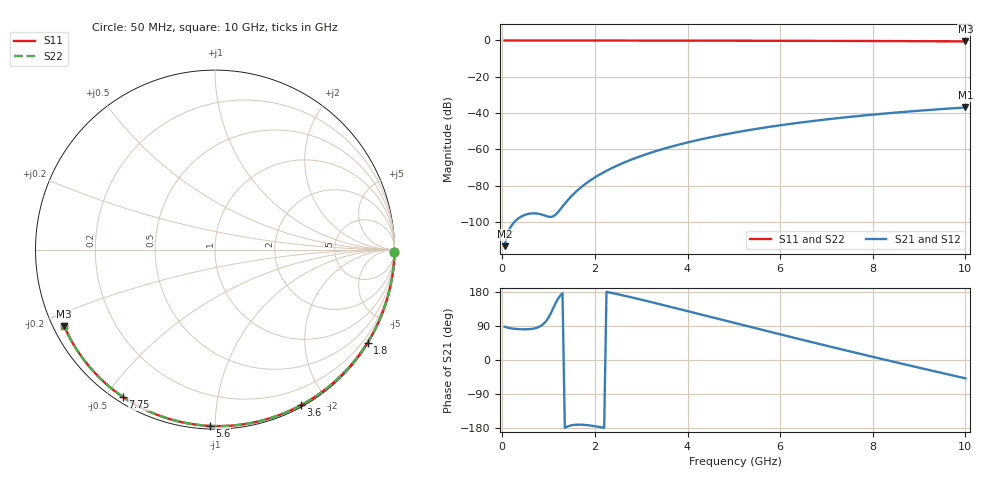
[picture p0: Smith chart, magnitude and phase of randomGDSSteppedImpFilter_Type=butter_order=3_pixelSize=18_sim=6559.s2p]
! freq	dB(S11)	phase(S11)	dB(S12)	phase(S12)
!  dB(S21)	phase(S21)	dB(S22)	phase(S22)
!S-par simulation data
#  GHz  S  DB  R 50
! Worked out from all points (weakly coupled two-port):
!   200 points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, 50 MHz to 10 GHz, reference 50 ohm
!   highest |S21| = -36.96 dB at 10 GHz (marker M1); lowest = -113.4 dB at 50 MHz (marker M2)
!   lowest |S11| = -0.5 dB at 10 GHz (marker M3), VSWR 33.61, Z = 1.57 - j12 ohm
!   |S11| at or under -10 dB: nowhere
!   |S22| runs from -0.5 to 0.0 dB; largest |S21 - S12| = 0
!   S11 on the Smith chart (normalised r, x): 50 MHz: open; 1.8 GHz: 0.03, -3.56; 3.6 GHz: 0.02, -1.69; 5.6 GHz: 0.02, -0.97; 7.75 GHz: 0.02, -0.55; 10 GHz: 0.03, -0.24
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0.05  -0.00 -0.9  -113.41 87.8  -113.41 87.8  -0.00 -0.9
0.45  -0.01 -8.0  -96.57 81.0  -96.57 81.0  -0.01 -8.0
0.9  -0.02 -15.9  -96.38 96.4  -96.38 96.4  -0.02 -15.9
1.3  -0.03 -22.8  -91.59 176.2  -91.59 176.2  -0.03 -22.8
1.75  -0.04 -30.5  -79.93 -171.0  -79.93 -171.0  -0.04 -30.5
1.8  -0.04 -31.4  -78.96 -171.5  -78.96 -171.5  -0.04 -31.4
1.95  -0.04 -33.9  -76.30 -173.7  -76.30 -173.7  -0.04 -33.9
2.1  -0.05 -36.5  -73.95 -176.7  -73.95 -176.7  -0.05 -36.5
2.3  -0.05 -39.8  -71.19 178.6  -71.19 178.6  -0.05 -39.9
2.5  -0.06 -43.2  -68.75 173.4  -68.75 173.4  -0.06 -43.2
2.9  -0.06 -49.8  -64.60 162.2  -64.60 162.2  -0.06 -49.8
3.4  -0.08 -57.9  -60.35 147.3  -60.35 147.3  -0.08 -57.9
3.6  -0.08 -61.1  -58.88 141.2  -58.88 141.2  -0.08 -61.2
4.3  -0.10 -72.1  -54.45 119.8  -54.45 119.8  -0.10 -72.2
5.05  -0.13 -83.6  -50.64 96.7  -50.64 96.7  -0.13 -83.6
5.6  -0.15 -91.7  -48.29 79.8  -48.29 79.8  -0.15 -91.7
6.15  -0.18 -99.7  -46.23 63.1  -46.23 63.1  -0.18 -99.7
6.7  -0.21 -107.5  -44.42 46.6  -44.42 46.6  -0.21 -107.5
7.75  -0.28 -122.1  -41.50 15.6  -41.50 15.6  -0.28 -122.2
8.35  -0.34 -130.3  -40.08 -1.8  -40.08 -1.8  -0.34 -130.4
9.2  -0.42 -142.0  -38.35 -26.0  -38.35 -26.0  -0.42 -142.0
10  -0.52 -153.0  -36.96 -48.4  -36.96 -48.4  -0.52 -153.1
